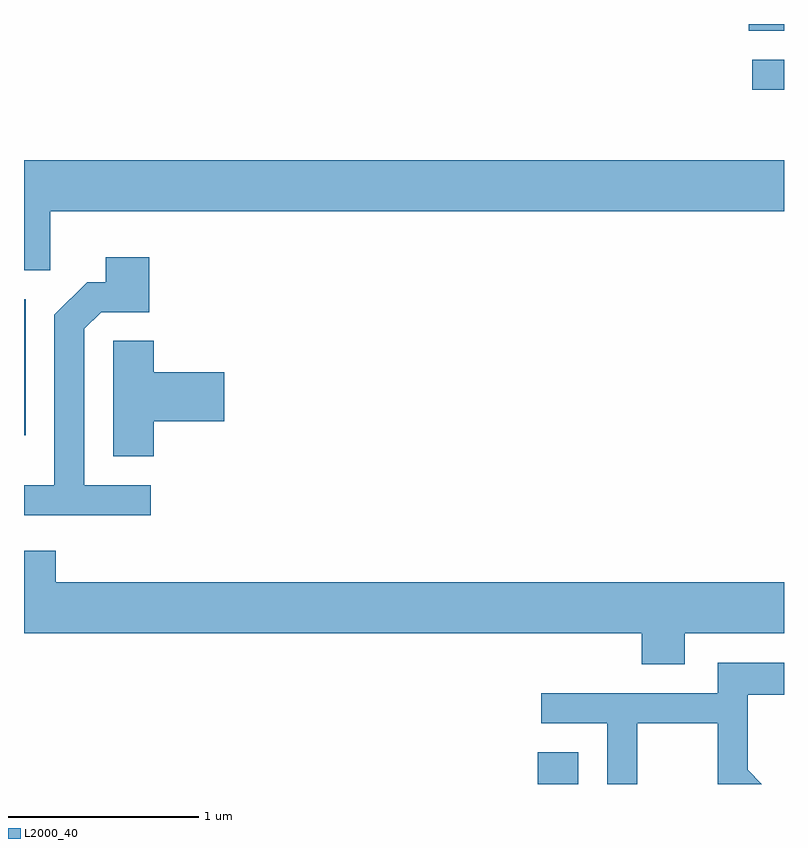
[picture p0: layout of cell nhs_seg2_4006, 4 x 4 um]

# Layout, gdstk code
import gdstk
lib = gdstk.Library(unit=1e-6, precision=1e-09)
def R(c, l, rs):  # rectangles x0, y0, x1, y1
    for r in rs: c.add(gdstk.rectangle(r[:2], r[2:], *l))
def P(c, l, *ps):  # polygons
    for p in ps: c.add(gdstk.Polygon(p, *l))
L2000_40 = (2000, 40)

nhs_seg2_4006 = lib.new_cell('nhs_seg2_4006')
R(nhs_seg2_4006, L2000_40, [(306.316,989.802,306.529,989.969), (303.611,991.638,303.619,992.354), (307.443,993.456,307.611,993.614), (307.426,993.766,307.611,993.802)])
P(nhs_seg2_4006, L2000_40, [(303.749,992.816),(307.611,992.816),(307.611,993.084),(303.611,993.084),(303.611,992.506),(303.749,992.506)],
  [(304.278,991.374),(303.929,991.374),(303.929,992.199),(304.017,992.286),(304.269,992.286),(304.269,992.574),(304.041,992.574),(304.041,992.444),(303.944,992.444),(303.771,992.272),(303.771,991.374),(303.611,991.374),(303.611,991.216),(304.278,991.216)],
  [(304.294,991.711),(304.664,991.711),(304.664,991.969),(304.294,991.969),(304.294,992.134),(304.081,992.134),(304.081,991.526),(304.294,991.526)],
  [(307.089,990.596),(307.611,990.596),(307.611,990.864),(303.779,990.864),(303.779,991.029),(303.611,991.029),(303.611,990.596),(306.861,990.596),(306.861,990.431),(307.089,990.431)],
  [(306.839,990.121),(307.261,990.121),(307.261,989.804),(307.263,989.802),(307.494,989.802),(307.419,989.877),(307.419,990.271),(307.611,990.271),(307.611,990.439),(307.261,990.439),(307.261,990.279),(306.333,990.279),(306.333,990.121),(306.681,990.121),(306.681,989.802),(306.839,989.802)])

lib.write_gds('nhs_seg2_4006.gds')
